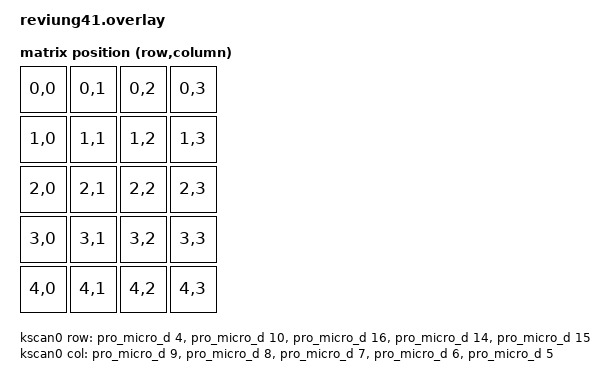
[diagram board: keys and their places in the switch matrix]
#include "reviung41.dtsi"
#include <dt-bindings/zmk/matrix_transform.h>

&right_encoder {
	status = "okay";
};

&left_encoder {
	status = "okay";
};

/ {

	chosen {
		zmk,kscan = &kscan0;
	};

	kscan0: kscan_0 {
		compatible = "zmk,kscan-gpio-matrix";
		label = "KSCAN";

	col-gpios
		= <&pro_micro_d 9 GPIO_ACTIVE_HIGH> //B5 in QMK
		, <&pro_micro_d 8 GPIO_ACTIVE_HIGH> //B4 in QMK
		, <&pro_micro_d 7 GPIO_ACTIVE_HIGH> //E6 in QMK
		, <&pro_micro_d 6 GPIO_ACTIVE_HIGH> //D7 in QMK
		, <&pro_micro_d 5 GPIO_ACTIVE_HIGH> //C6 in QMK
		;
		
	row-gpios
    		= <&pro_micro_d 4 (GPIO_ACTIVE_HIGH | GPIO_PULL_DOWN)> //D4 in QMK
            	, <&pro_micro_d 10 (GPIO_ACTIVE_HIGH | GPIO_PULL_DOWN)> //B6 in QMK
            	, <&pro_micro_d 16 (GPIO_ACTIVE_HIGH | GPIO_PULL_DOWN)> //B2 in QMK
            	, <&pro_micro_d 14 (GPIO_ACTIVE_HIGH | GPIO_PULL_DOWN)> //B3 in QMK
            	, <&pro_micro_d 15 (GPIO_ACTIVE_HIGH | GPIO_PULL_DOWN)> //B1 in QMK
            	;
		
	};
	
	default_transform: keymap_transform_0 {
		compatible = "zmk,matrix-transform";
		columns = <4>;
		rows = <5>;

		map = <
			RC(0,0) RC(0,1) RC(0,2) RC(0,3)
			RC(1,0) RC(1,1) RC(1,2) RC(1,3)
			RC(2,0) RC(2,1) RC(2,2) RC(2,3)
			RC(3,0) RC(3,1) RC(3,2) RC(3,3)
			RC(4,0) RC(4,1) RC(4,2) RC(4,3)
		>;
	};
};
